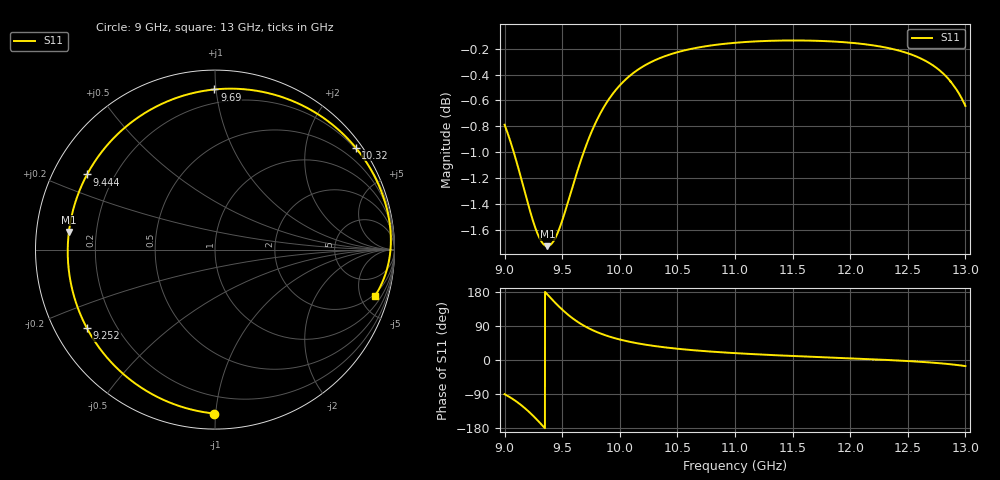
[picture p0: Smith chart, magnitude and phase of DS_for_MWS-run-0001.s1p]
! TOUCHSTONE file generated by CST DESIGN STUDIO
! Date and time: Tue Feb  4 18:24:15 2025
! Project name: C:\Work\MatlabApps\UnitCellOptimizationMatlab\CST\unitcell.cst
! Tree item: Tasks\Sweep1\SPara1\S-Parameters
! Header version: 2024
! Port assignment regex: !\s*Touchstone port\s*([0-9]+)\s*=\s*(CST MWS port|CST DES external port|CST DES block port)\s*(.+)\s* \(\"(.*)\"\)(\s*mode\s*([0-9]+))?.*
! Touchstone port assignment:
! Touchstone port 1 = CST DES external port 1 ("")
# GHz S MA R 50
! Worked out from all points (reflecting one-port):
!   4001 points, 9 GHz to 13 GHz, reference 50 ohm
!   lowest |S11| = -1.7 dB at 9.371 GHz (marker M1), VSWR 10.11, Z = 4.96 + j3 ohm
!   phase of S11 starts at -90 deg and turns -286 deg over the sweep
!   S11 on the Smith chart (normalised r, x): 9 GHz: 0.09, -0.99; 9.252 GHz: 0.10, -0.28; 9.444 GHz: 0.10, +0.27; 9.69 GHz: 0.11, +0.99; 10.32 GHz: 0.17, +3.08; 13 GHz: 1.76, -6.61
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9  0.9134 -90.2
9.019  0.9085 -93.4
9.07  0.8941 -102.8
9.133  0.8743 -116.4
9.192  0.855 -131.3
9.252  0.8371 -148.6
9.313  0.8243 -167.8
9.371  0.82 173.1
9.406  0.8216 161.6
9.444  0.8266 149.6
9.5  0.8388 133.0
9.544  0.8509 121.2
9.589  0.864 110.3
9.637  0.8779 100.1
9.69  0.8922 90.2
9.762  0.9092 79.0
9.836  0.9235 69.5
9.915  0.9357 61.3
10  0.9459 54.1
10.148  0.9585 44.3
10.325  0.9681 35.9
10.5  0.9741 29.7
11  0.9823 18.1
11.5  0.9844 10.6
12  0.9824 4.4
12.5  0.9732 -2.7
12.773  0.9588 -8.4
13  0.9287 -16.1
